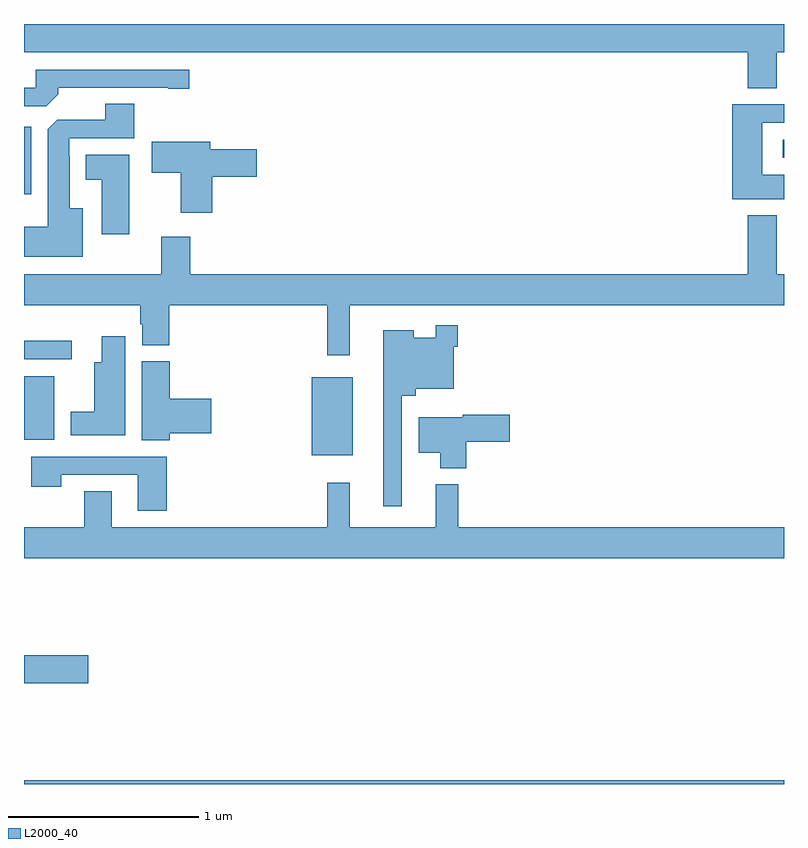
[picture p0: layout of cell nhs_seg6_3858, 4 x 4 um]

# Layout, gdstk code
import gdstk
lib = gdstk.Library(unit=1e-6, precision=1e-09)
def R(c, l, rs):  # rectangles x0, y0, x1, y1
    for r in rs: c.add(gdstk.rectangle(r[:2], r[2:], *l))
def P(c, l, *ps):  # polygons
    for p in ps: c.add(gdstk.Polygon(p, *l))
L2000_40 = (2000, 40)

nhs_seg6_3858 = lib.new_cell('nhs_seg6_3858')
R(nhs_seg6_3858, L2000_40, [(339,927.5,343,927.52), (339,928.031,339.337,928.178), (340.514,929.231,340.729,929.641), (339,929.312,339.16,929.647), (339,929.736,339.25,929.834), (339,930.605,339.037,930.958), (342.993,930.795,343,930.891)])
P(nhs_seg6_3858, L2000_40, [(342.961,931.352),(343,931.352),(343,931.5),(339,931.5),(339,931.352),(342.809,931.352),(342.809,931.162),(342.961,931.162)],
  [(339.179,931.13),(339.179,931.164),(339.758,931.164),(339.758,931.159),(339.871,931.159),(339.871,931.26),(339.063,931.26),(339.063,931.164),(339,931.164),(339,931.068),(339.117,931.068)],
  [(339.31,930.529),(339.241,930.529),(339.241,930.803),(339.237,930.803),(339.237,930.9),(339.581,930.9),(339.581,931.079),(339.428,931.079),(339.428,930.996),(339.174,930.996),(339.125,930.947),(339.125,930.433),(339,930.433),(339,930.275),(339.31,930.275)],
  [(343,930.706),(342.886,930.706),(342.886,930.981),(343,930.981),(343,931.077),(342.728,931.077),(342.728,930.578),(343,930.578)],
  [(339.992,930.695),(340.225,930.695),(340.225,930.842),(339.979,930.842),(339.979,930.88),(339.672,930.88),(339.672,930.718),(339.824,930.718),(339.824,930.507),(339.992,930.507)],
  [(339.553,930.811),(339.326,930.811),(339.326,930.68),(339.41,930.68),(339.41,930.393),(339.553,930.393)],
  [(340.714,930.02),(343,930.02),(343,930.184),(342.961,930.184),(342.961,930.493),(342.809,930.493),(342.809,930.184),(339.875,930.184),(339.875,930.379),(339.722,930.379),(339.722,930.184),(339,930.184),(339,930.02),(339.611,930.02),(339.611,929.919),(339.623,929.919),(339.623,929.809),(339.764,929.809),(339.764,930.02),(340.597,930.02),(340.597,929.757),(340.714,929.757)],
  [(340.989,929.543),(341.063,929.543),(341.063,929.579),(341.262,929.579),(341.262,929.801),(341.282,929.801),(341.282,929.914),(341.166,929.914),(341.166,929.848),(341.05,929.848),(341.05,929.887),(340.892,929.887),(340.892,928.962),(340.989,928.962)],
  [(339.532,929.857),(339.41,929.857),(339.41,929.719),(339.371,929.719),(339.371,929.458),(339.245,929.458),(339.245,929.336),(339.532,929.336)],
  [(339.767,929.345),(339.985,929.345),(339.985,929.528),(339.767,929.528),(339.767,929.724),(339.62,929.724),(339.62,929.308),(339.767,929.308)],
  [(341.327,929.302),(341.557,929.302),(341.557,929.444),(341.31,929.444),(341.31,929.431),(341.078,929.431),(341.078,929.243),(341.192,929.243),(341.192,929.162),(341.327,929.162)],
  [(339.752,929.223),(339.039,929.223),(339.039,929.064),(339.195,929.064),(339.195,929.127),(339.599,929.127),(339.599,928.938),(339.752,928.938)],
  [(343,928.852),(341.285,928.852),(341.285,929.077),(341.168,929.077),(341.168,928.852),(340.715,928.852),(340.715,929.086),(340.597,929.086),(340.597,928.852),(339.463,928.852),(339.463,929.042),(339.316,929.042),(339.316,928.852),(339,928.852),(339,928.688),(343,928.688)])

lib.write_gds('nhs_seg6_3858.gds')
